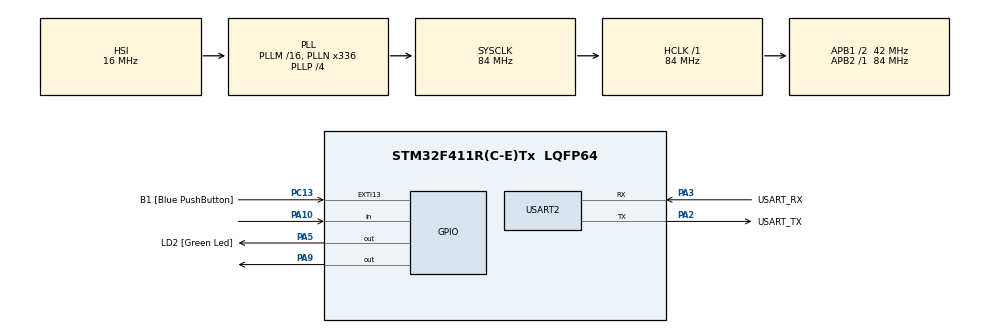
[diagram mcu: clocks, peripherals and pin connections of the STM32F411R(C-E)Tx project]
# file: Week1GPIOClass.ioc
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Mcu.Family=STM32F4
Mcu.Name=STM32F411R(C-E)Tx
Mcu.Package=LQFP64
NVIC.PriorityGroup=NVIC_PRIORITYGROUP_0
PA10.Signal=GPIO_Input
PA13.GPIO_Label=TMS
PA13.Mode=Serial_Wire
PA13.Signal=SYS_JTMS-SWDIO
PA14.GPIO_Label=TCK
PA14.Mode=Serial_Wire
PA14.Signal=SYS_JTCK-SWCLK
PA2.GPIO_Label=USART_TX
PA2.Mode=Asynchronous
PA2.Signal=USART2_TX
PA3.GPIO_Label=USART_RX
PA3.Mode=Asynchronous
PA3.Signal=USART2_RX
PA5.GPIO_Label=LD2 [Green Led]
PA5.Signal=GPIO_Output
PA9.Signal=GPIO_Output
PB3.GPIO_Label=SWO
PB3.Signal=SYS_JTDO-SWO
PC13-ANTI_TAMP.GPIO_Label=B1 [Blue PushButton]
PC13-ANTI_TAMP.GPIO_ModeDefaultEXTI=GPIO_MODE_IT_FALLING
PC13-ANTI_TAMP.Signal=GPXTI13
PC14-OSC32_IN.Mode=LSE-External-Oscillator
PC14-OSC32_IN.Signal=RCC_OSC32_IN
PC15-OSC32_OUT.Mode=LSE-External-Oscillator
PC15-OSC32_OUT.Signal=RCC_OSC32_OUT
PH0\ -\ OSC_IN.Mode=HSE-External-Clock-Source
PH0\ -\ OSC_IN.Signal=RCC_OSC_IN
PH1\ -\ OSC_OUT.Mode=HSE-External-Clock-Source
PH1\ -\ OSC_OUT.Signal=RCC_OSC_OUT
ProjectManager.HeapSize=0x200
ProjectManager.StackSize=0x400
ProjectManager.TargetToolchain=STM32CubeIDE
RCC.48MHZClocksFreq_Value=84000000
RCC.AHBFreq_Value=84000000
RCC.APB1CLKDivider=RCC_HCLK_DIV2
RCC.APB1Freq_Value=42000000
RCC.APB1TimFreq_Value=84000000
RCC.APB2Freq_Value=84000000
RCC.APB2TimFreq_Value=84000000
RCC.CortexFreq_Value=84000000
RCC.FLatency-AdvancedSettings=FLASH_LATENCY_2
RCC.HCLKFreq_Value=84000000
RCC.HSE_VALUE=8000000
RCC.HSI_VALUE=16000000
RCC.PLLN=336
RCC.PLLP=RCC_PLLP_DIV4
RCC.SYSCLKFreq_VALUE=84000000
RCC.SYSCLKSource=RCC_SYSCLKSOURCE_PLLCLK
RCC.VCOOutputFreq_Value=336000000
USART2.VirtualMode=VM_ASYNC
board=NUCLEO-F411RE

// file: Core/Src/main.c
/* USER CODE BEGIN Header */
/**
 ******************************************************************************
 * @file           : main.c
 * @brief          : Main program body
 ******************************************************************************
 * @attention
 *
 * <h2><center>&copy; Copyright (c) 2021 STMicroelectronics.
 * All rights reserved.</center></h2>
 *
 * This software component is licensed by ST under BSD 3-Clause license,
 * the "License"; You may not use this file except in compliance with the
 * License. You may obtain a copy of the License at:
 *                        opensource.org/licenses/BSD-3-Clause
 *
 ******************************************************************************
 */
/* USER CODE END Header */
#include "main.h"

UART_HandleTypeDef huart2;

void SystemClock_Config(void);
static void MX_GPIO_Init(void);
static void MX_USART2_UART_Init(void);

int main(void) {

	/* MCU Configuration--------------------------------------------------------*/

	/* Reset of all peripherals, Initializes the Flash interface and the Systick. */
	HAL_Init();

	/* Configure the system clock */
	SystemClock_Config();

	/* Initialize all configured peripherals */
	MX_GPIO_Init();
	MX_USART2_UART_Init();
	/* USER CODE BEGIN 2 */
	GPIO_PinState SwitchState[2];	//NOW,LAST
	uint16_t LED1_HalfPeriod = 250;	//1Hz
	uint32_t TimeStamp = 0;
	uint32_t ButtonTimeStamp = 0;
	/* USER CODE END 2 */

	/* Infinite loop */
	while (1) {

		/* USER CODE BEGIN 3 */
		if (HAL_GetTick() - ButtonTimeStamp >= 100) {
			ButtonTimeStamp = HAL_GetTick();
			//switch press is LOW
			SwitchState[0] = HAL_GPIO_ReadPin(GPIOA, GPIO_PIN_10);
			if (SwitchState[1] == GPIO_PIN_SET
					&& SwitchState[0] == GPIO_PIN_RESET) {
				if (LED1_HalfPeriod == 250) {
					LED1_HalfPeriod = 500;
				} else {
					LED1_HalfPeriod = 250;
				}
			}
			SwitchState[1] = SwitchState[0];
		}
		//Run LED
		if (HAL_GetTick() - TimeStamp >= LED1_HalfPeriod) {
			TimeStamp = HAL_GetTick();
			if (HAL_GPIO_ReadPin(GPIOA, GPIO_PIN_9) == GPIO_PIN_SET) {
				HAL_GPIO_WritePin(GPIOA, GPIO_PIN_9, GPIO_PIN_RESET);
			} else {
				HAL_GPIO_WritePin(GPIOA, GPIO_PIN_9, GPIO_PIN_SET);
			}
		}

	}
	/* USER CODE END 3 */
}

void SystemClock_Config(void) {
	RCC_OscInitTypeDef RCC_OscInitStruct = { 0 };
	RCC_ClkInitTypeDef RCC_ClkInitStruct = { 0 };

	/** Configure the main internal regulator output voltage
	 */
	__HAL_RCC_PWR_CLK_ENABLE();
	__HAL_PWR_VOLTAGESCALING_CONFIG(PWR_REGULATOR_VOLTAGE_SCALE1);
	/** Initializes the RCC Oscillators according to the specified parameters
	 * in the RCC_OscInitTypeDef structure.
	 */
	RCC_OscInitStruct.OscillatorType = RCC_OSCILLATORTYPE_HSI;
	RCC_OscInitStruct.HSIState = RCC_HSI_ON;
	RCC_OscInitStruct.HSICalibrationValue = RCC_HSICALIBRATION_DEFAULT;
	RCC_OscInitStruct.PLL.PLLState = RCC_PLL_ON;
	RCC_OscInitStruct.PLL.PLLSource = RCC_PLLSOURCE_HSI;
	RCC_OscInitStruct.PLL.PLLM = 16;
	RCC_OscInitStruct.PLL.PLLN = 336;
	RCC_OscInitStruct.PLL.PLLP = RCC_PLLP_DIV4;
	RCC_OscInitStruct.PLL.PLLQ = 4;
	if (HAL_RCC_OscConfig(&RCC_OscInitStruct) != HAL_OK) {
		Error_Handler();
	}
	/** Initializes the CPU, AHB and APB buses clocks
	 */
	RCC_ClkInitStruct.ClockType = RCC_CLOCKTYPE_HCLK | RCC_CLOCKTYPE_SYSCLK
			| RCC_CLOCKTYPE_PCLK1 | RCC_CLOCKTYPE_PCLK2;
	RCC_ClkInitStruct.SYSCLKSource = RCC_SYSCLKSOURCE_PLLCLK;
	RCC_ClkInitStruct.AHBCLKDivider = RCC_SYSCLK_DIV1;
	RCC_ClkInitStruct.APB1CLKDivider = RCC_HCLK_DIV2;
	RCC_ClkInitStruct.APB2CLKDivider = RCC_HCLK_DIV1;

	if (HAL_RCC_ClockConfig(&RCC_ClkInitStruct, FLASH_LATENCY_2) != HAL_OK) {
		Error_Handler();
	}
}

static void MX_USART2_UART_Init(void) {

	huart2.Instance = USART2;
	huart2.Init.BaudRate = 115200;
	huart2.Init.WordLength = UART_WORDLENGTH_8B;
	huart2.Init.StopBits = UART_STOPBITS_1;
	huart2.Init.Parity = UART_PARITY_NONE;
	huart2.Init.Mode = UART_MODE_TX_RX;
	huart2.Init.HwFlowCtl = UART_HWCONTROL_NONE;
	huart2.Init.OverSampling = UART_OVERSAMPLING_16;
	if (HAL_UART_Init(&huart2) != HAL_OK) {
		Error_Handler();
	}

}

static void MX_GPIO_Init(void) {
	GPIO_InitTypeDef GPIO_InitStruct = { 0 };

	/* GPIO Ports Clock Enable */
	__HAL_RCC_GPIOC_CLK_ENABLE();
	__HAL_RCC_GPIOH_CLK_ENABLE();
	__HAL_RCC_GPIOA_CLK_ENABLE();
	__HAL_RCC_GPIOB_CLK_ENABLE();

	/*Configure GPIO pin Output Level */
	HAL_GPIO_WritePin(GPIOA, LD2_Pin | GPIO_PIN_9, GPIO_PIN_RESET);

	/*Configure GPIO pin : B1_Pin */
	GPIO_InitStruct.Pin = B1_Pin;
	GPIO_InitStruct.Mode = GPIO_MODE_IT_FALLING;
	GPIO_InitStruct.Pull = GPIO_NOPULL;
	HAL_GPIO_Init(B1_GPIO_Port, &GPIO_InitStruct);

	/*Configure GPIO pins : LD2_Pin PA9 */
	GPIO_InitStruct.Pin = LD2_Pin | GPIO_PIN_9;
	GPIO_InitStruct.Mode = GPIO_MODE_OUTPUT_PP;
	GPIO_InitStruct.Pull = GPIO_NOPULL;
	GPIO_InitStruct.Speed = GPIO_SPEED_FREQ_LOW;
	HAL_GPIO_Init(GPIOA, &GPIO_InitStruct);

	/*Configure GPIO pin : PA10 */
	GPIO_InitStruct.Pin = GPIO_PIN_10;
	GPIO_InitStruct.Mode = GPIO_MODE_INPUT;
	GPIO_InitStruct.Pull = GPIO_NOPULL;
	HAL_GPIO_Init(GPIOA, &GPIO_InitStruct);

}

void Error_Handler(void) {
	__disable_irq();
	while (1) {
	}
}

/************************ (C) COPYRIGHT STMicroelectronics *****END OF FILE****/
